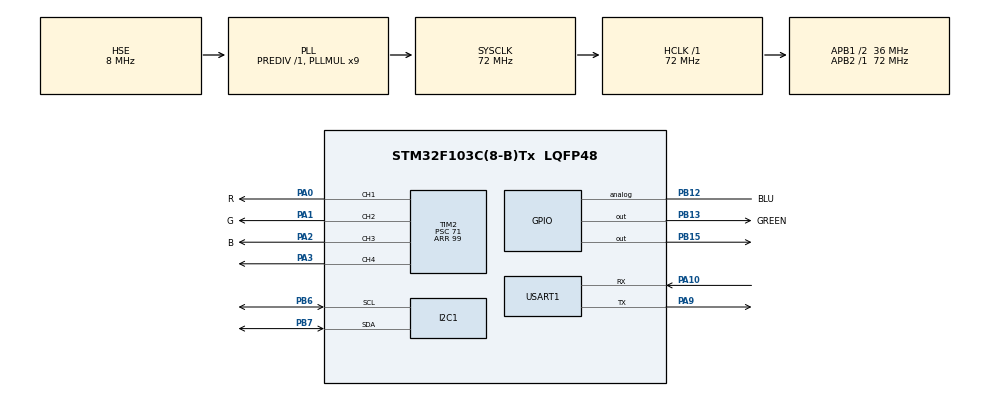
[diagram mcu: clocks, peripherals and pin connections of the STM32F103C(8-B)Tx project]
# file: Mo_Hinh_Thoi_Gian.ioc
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Mcu.Family=STM32F1
Mcu.Name=STM32F103C(8-B)Tx
Mcu.Package=LQFP48
NVIC.PriorityGroup=NVIC_PRIORITYGROUP_4
NVIC.USART1_IRQn=true\:0\:0\:false\:false\:true\:true\:true\:true
PA0-WKUP.GPIO_Label=R
PA0-WKUP.Signal=S_TIM2_CH1_ETR
PA1.GPIO_Label=G
PA1.Signal=S_TIM2_CH2
PA10.Mode=Asynchronous
PA10.Signal=USART1_RX
PA13.Mode=Serial_Wire
PA13.Signal=SYS_JTMS-SWDIO
PA14.Mode=Serial_Wire
PA14.Signal=SYS_JTCK-SWCLK
PA2.GPIO_Label=B
PA2.Signal=S_TIM2_CH3
PA3.Signal=S_TIM2_CH4
PA9.Mode=Asynchronous
PA9.Signal=USART1_TX
PB12.GPIO_Label=BLU
PB12.Signal=GPIO_Analog
PB13.GPIO_Label=GREEN
PB13.Signal=GPIO_Output
PB15.Signal=GPIO_Output
PB6.Mode=I2C
PB6.Signal=I2C1_SCL
PB7.Mode=I2C
PB7.Signal=I2C1_SDA
PD0-OSC_IN.Mode=HSE-External-Oscillator
PD0-OSC_IN.Signal=RCC_OSC_IN
PD1-OSC_OUT.Mode=HSE-External-Oscillator
PD1-OSC_OUT.Signal=RCC_OSC_OUT
ProjectManager.HeapSize=0x200
ProjectManager.StackSize=0x400
ProjectManager.TargetToolchain=MDK-ARM V5.32
RCC.AHBFreq_Value=72000000
RCC.APB1CLKDivider=RCC_HCLK_DIV2
RCC.APB1Freq_Value=36000000
RCC.APB1TimFreq_Value=72000000
RCC.APB2Freq_Value=72000000
RCC.APB2TimFreq_Value=72000000
RCC.HCLKFreq_Value=72000000
RCC.PLLMUL=RCC_PLL_MUL9
RCC.PLLSourceVirtual=RCC_PLLSOURCE_HSE
RCC.SYSCLKFreq_VALUE=72000000
RCC.SYSCLKSource=RCC_SYSCLKSOURCE_PLLCLK
RCC.USBFreq_Value=72000000
SH.S_TIM2_CH1_ETR.0=TIM2_CH1,PWM Generation1 CH1
SH.S_TIM2_CH2.0=TIM2_CH2,PWM Generation2 CH2
SH.S_TIM2_CH3.0=TIM2_CH3,PWM Generation3 CH3
SH.S_TIM2_CH4.0=TIM2_CH4,PWM Generation4 CH4
TIM2.Channel-PWM\ Generation1\ CH1=TIM_CHANNEL_1
TIM2.Channel-PWM\ Generation2\ CH2=TIM_CHANNEL_2
TIM2.Channel-PWM\ Generation3\ CH3=TIM_CHANNEL_3
TIM2.Channel-PWM\ Generation4\ CH4=TIM_CHANNEL_4
TIM2.Period=99
TIM2.Prescaler=71
USART1.VirtualMode=VM_ASYNC
board=custom

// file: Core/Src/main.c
/* USER CODE BEGIN Header */
/**
  ******************************************************************************
  * @file           : main.c
  * @brief          : Main program body
  ******************************************************************************
  * @attention
  *
  * Copyright (c) 2024 STMicroelectronics.
  * All rights reserved.
  *
  * This software is licensed under terms that can be found in the LICENSE file
  * in the root directory of this software component.
  * If no LICENSE file comes with this software, it is provided AS-IS.
  *
  ******************************************************************************
  */
/* USER CODE END Header */
#include "main.h"

/* USER CODE BEGIN Includes */
#include "sht2x.h"
#include <stdio.h>
#include <string.h>
#include "mpu6050.h"
#include "stdint.h"
#include "response_ci.h"
// Command hanlde
#include "uart.h"
#include "i2c-lcd.h"
#include "set_time.h"
#include "set_rgb.h"
/* USER CODE END Includes */

I2C_HandleTypeDef hi2c1;

TIM_HandleTypeDef htim2;

UART_HandleTypeDef huart1;

/* USER CODE BEGIN PV */
//
unsigned char buffer1[100] = { 0 };
unsigned char* buffer2[100] = { 0 };
float tem = 0;
float hum = 0;

uint32_t elapsed_time1;
uint32_t elapsed_time2;
uint32_t elapsed_time3;
uint32_t elapsed_time4;
uint32_t elapsed_time5 = 0;
uint8_t flag = 0;

MPU6050_t MPU6050;

uint32_t P = 6000;
int arr_w[12] ={0};
int arr_r[12] = {0};
uint32_t D1 = 1000;
uint32_t D2 = 1000;
uint32_t D3 = 1000;
uint32_t D4 = 1000;
uint32_t T1 = 500;
uint32_t T2 = 500;
uint32_t T3 = 500;
uint32_t T4 = 500;
uint32_t Phase_1 = 1;
uint32_t Phase_2 = 2;
uint32_t Phase_3 = 3;
uint32_t Phase_4 = 4;
uint8_t flag_update_time = 0;

int arr_w_rgb[3] = {0};
int arr_r_rgb[3] = {0};
uint8_t duty_R = 50;
uint8_t duty_G = 50;
uint8_t duty_B = 50;
uint8_t flag_update_rgb = 0;
static uint8_t dataRX;

/* USER CODE END PV */

void SystemClock_Config(void);
static void MX_GPIO_Init(void);
static void MX_I2C1_Init(void);
static void MX_USART1_UART_Init(void);
static void MX_TIM2_Init(void);

/* USER CODE BEGIN 0 */
// ham ngat uart
void HAL_UART_RxCpltCallback(UART_HandleTypeDef *huart)
{
	uint32_t start_time = HAL_GetTick();

	if (huart->Instance == huart1.Instance)
	{
		recv_data(dataRX);
		HAL_UART_Receive_IT(&huart1, &dataRX,1);
		uart_handle();
		uint32_t end_time = HAL_GetTick();
		elapsed_time5 = end_time - start_time;
	}
}

// Task1: doc nhiet do va do am tu cam bien SHT21
void Task1(){
		response_print("Task read temperature & relative humidity is running\n\n");
		uint32_t start_time = HAL_GetTick();

		/* Gets current temperature & relative humidity. */
		float cel = SHT2x_GetTemperature(1);
		tem = cel;
		float rh = SHT2x_GetRelativeHumidity(1);
		hum = rh;
		/* May show warning below. Ignore and proceed. */
		sprintf((char*)buffer1,
		"%d.%dºC, relative humidity = %d.%d%% RH\n",
		SHT2x_GetInteger(cel), SHT2x_GetDecimal(cel, 1),
		SHT2x_GetInteger(rh), SHT2x_GetDecimal(rh, 1));
		uint32_t end_time = HAL_GetTick();
		elapsed_time1 = end_time - start_time;
		HAL_Delay(T1);
}

// Task2: do gia toc tu cam bien MPU6050
void Task2(){
		response_print("Task read acceleration is running\n\n");
		uint32_t start_time = HAL_GetTick();
		MPU6050_Read_All(&hi2c1, &MPU6050);
		sprintf((char*)buffer2,"Acceleration = {Ax = %f, Ay = %f, Az = %f}\n\n", MPU6050.Ax,MPU6050.Ay,MPU6050.Az);
		uint32_t end_time = HAL_GetTick();
		elapsed_time2 = end_time - start_time;
		HAL_Delay(T2);
}

//Task3: Hien thi du lieu len LCD bang giao tiep I2C
void Task3(){
		uint32_t start_time = HAL_GetTick();
		unsigned char buffer3[100] = { 0 };
		unsigned char buffer5[100] = { 0 };
		unsigned char buffer4[100] = { 0 };
		sprintf((char*)buffer3, "Te=%.1f Hu=%.1f", tem, hum);
		sprintf((char*)buffer4, "%.2f %.2f %0.2f", MPU6050.Ax, MPU6050.Ay, MPU6050.Az);
		sprintf((char*)buffer5, "Z=%.1f",MPU6050.Az);
		lcd_goto_XY (1,0);
		lcd_send_string ((char*)buffer3);
		lcd_goto_XY (0,0);
		lcd_send_string ((char*)buffer4);
		uint32_t end_time = HAL_GetTick();
		elapsed_time3 = end_time - start_time;
		HAL_Delay(T3);
}

// Truyen du lieu len may tinh bang UART
void Task4(){
		uint32_t start_time = HAL_GetTick();
		response_print("Task Send UART is running\n");
		HAL_UART_Transmit(&huart1, buffer1, strlen((char*)buffer1), 1000);
		HAL_UART_Transmit(&huart1,(uint8_t*)buffer2, strlen((char*)buffer2), 1000);
		uint32_t end_time = HAL_GetTick();
		elapsed_time4 = end_time - start_time;
		HAL_Delay(T4);
}

void(*task_Point_Array[4])(void) = {Task1, Task2, Task3, Task4};

/* USER CODE END 0 */

int main(void)
{

  /* MCU Configuration--------------------------------------------------------*/

  /* Reset of all peripherals, Initializes the Flash interface and the Systick. */
  HAL_Init();

  /* Configure the system clock */
  SystemClock_Config();

  /* USER CODE BEGIN SysInit */
	SHT2x_Init(&hi2c1);
	SHT2x_SetResolution(RES_14_12);
  /* USER CODE END SysInit */

  /* Initialize all configured peripherals */
  MX_GPIO_Init();
  MX_I2C1_Init();
  MX_USART1_UART_Init();
  MX_TIM2_Init();
  /* USER CODE BEGIN 2 */
	MPU6050_Init(&hi2c1);
	HAL_UART_Receive_IT(&huart1, &dataRX,1);
	response_init(&huart1);
	// initialize the library by associating any needed LCD interface pin
	lcd_init ();
	response_init(&huart1);

	if (!MPU6050_Init(&hi2c1))
	{
		response_print("Successful connecting to MPU 6050 sensor\n");
	}
	else
	{
		response_print("Failed connecting to MPU 6050 sensor\n");
	}

	// doc du lieu thoi gian tu bo nho Flash
	for( uint16_t i = 0; i < 12; i++){
	 arr_r[i] = Flash_Read_Int(ADDRESS_DATA_STORAGE + 1024*i);
	}

 D1 = arr_r[0];
 D2 = arr_r[1];
 D3 = arr_r[2];
 D4 = arr_r[3];
 Phase_1 = arr_r[4];
 Phase_2 = arr_r[5];
 Phase_3 = arr_r[6];
 Phase_4 = arr_r[7];
 T1 = arr_r[8];
 T2 = arr_r[9];
 T3 = arr_r[10];
 T4 = arr_r[11];

	// tao xung pwm cho led RGB

	for( uint16_t i = 0; i < 3; i++){
	 arr_r_rgb[i] = Flash_Read_Int(ADDRESS_DATA_RGB_STORAGE + 1024*i);
	}
	HAL_TIM_PWM_Start(&htim2,TIM_CHANNEL_1);
  HAL_TIM_PWM_Start(&htim2,TIM_CHANNEL_2);
	HAL_TIM_PWM_Start(&htim2,TIM_CHANNEL_3);
	duty_R = arr_r_rgb[0];
  duty_G = arr_r_rgb[1];
  duty_B = arr_r_rgb[2];
	__HAL_TIM_SetCompare(&htim2,TIM_CHANNEL_1,duty_R);
  __HAL_TIM_SetCompare(&htim2,TIM_CHANNEL_2,duty_G);
	__HAL_TIM_SetCompare(&htim2,TIM_CHANNEL_3,duty_B);
  /* USER CODE END 2 */

  /* Infinite loop */
  /* USER CODE BEGIN WHILE */
	 uwTick = 0;

  while (1)
  {
    /* USER CODE END WHILE */

    /* USER CODE BEGIN 3 */
		if(uwTick%P == 100){
		for	(uint16_t i = 0; i < 4; i++)
			task_Point_Array[i]();
		}
  }

  /* USER CODE END 3 */
}

void SystemClock_Config(void)
{
  RCC_OscInitTypeDef RCC_OscInitStruct = {0};
  RCC_ClkInitTypeDef RCC_ClkInitStruct = {0};

  /** Initializes the RCC Oscillators according to the specified parameters
  * in the RCC_OscInitTypeDef structure.
  */
  RCC_OscInitStruct.OscillatorType = RCC_OSCILLATORTYPE_HSE;
  RCC_OscInitStruct.HSEState = RCC_HSE_ON;
  RCC_OscInitStruct.HSEPredivValue = RCC_HSE_PREDIV_DIV1;
  RCC_OscInitStruct.HSIState = RCC_HSI_ON;
  RCC_OscInitStruct.PLL.PLLState = RCC_PLL_ON;
  RCC_OscInitStruct.PLL.PLLSource = RCC_PLLSOURCE_HSE;
  RCC_OscInitStruct.PLL.PLLMUL = RCC_PLL_MUL9;
  if (HAL_RCC_OscConfig(&RCC_OscInitStruct) != HAL_OK)
  {
    Error_Handler();
  }

  /** Initializes the CPU, AHB and APB buses clocks
  */
  RCC_ClkInitStruct.ClockType = RCC_CLOCKTYPE_HCLK|RCC_CLOCKTYPE_SYSCLK
                              |RCC_CLOCKTYPE_PCLK1|RCC_CLOCKTYPE_PCLK2;
  RCC_ClkInitStruct.SYSCLKSource = RCC_SYSCLKSOURCE_PLLCLK;
  RCC_ClkInitStruct.AHBCLKDivider = RCC_SYSCLK_DIV1;
  RCC_ClkInitStruct.APB1CLKDivider = RCC_HCLK_DIV2;
  RCC_ClkInitStruct.APB2CLKDivider = RCC_HCLK_DIV1;

  if (HAL_RCC_ClockConfig(&RCC_ClkInitStruct, FLASH_LATENCY_2) != HAL_OK)
  {
    Error_Handler();
  }
}

static void MX_I2C1_Init(void)
{

  hi2c1.Instance = I2C1;
  hi2c1.Init.ClockSpeed = 100000;
  hi2c1.Init.DutyCycle = I2C_DUTYCYCLE_2;
  hi2c1.Init.OwnAddress1 = 0;
  hi2c1.Init.AddressingMode = I2C_ADDRESSINGMODE_7BIT;
  hi2c1.Init.DualAddressMode = I2C_DUALADDRESS_DISABLE;
  hi2c1.Init.OwnAddress2 = 0;
  hi2c1.Init.GeneralCallMode = I2C_GENERALCALL_DISABLE;
  hi2c1.Init.NoStretchMode = I2C_NOSTRETCH_DISABLE;
  if (HAL_I2C_Init(&hi2c1) != HAL_OK)
  {
    Error_Handler();
  }

}

static void MX_TIM2_Init(void)
{

  TIM_MasterConfigTypeDef sMasterConfig = {0};
  TIM_OC_InitTypeDef sConfigOC = {0};

  htim2.Instance = TIM2;
  htim2.Init.Prescaler = 71;
  htim2.Init.CounterMode = TIM_COUNTERMODE_UP;
  htim2.Init.Period = 99;
  htim2.Init.ClockDivision = TIM_CLOCKDIVISION_DIV1;
  htim2.Init.AutoReloadPreload = TIM_AUTORELOAD_PRELOAD_DISABLE;
  if (HAL_TIM_PWM_Init(&htim2) != HAL_OK)
  {
    Error_Handler();
  }
  sMasterConfig.MasterOutputTrigger = TIM_TRGO_RESET;
  sMasterConfig.MasterSlaveMode = TIM_MASTERSLAVEMODE_DISABLE;
  if (HAL_TIMEx_MasterConfigSynchronization(&htim2, &sMasterConfig) != HAL_OK)
  {
    Error_Handler();
  }
  sConfigOC.OCMode = TIM_OCMODE_PWM1;
  sConfigOC.Pulse = 0;
  sConfigOC.OCPolarity = TIM_OCPOLARITY_HIGH;
  sConfigOC.OCFastMode = TIM_OCFAST_DISABLE;
  if (HAL_TIM_PWM_ConfigChannel(&htim2, &sConfigOC, TIM_CHANNEL_1) != HAL_OK)
  {
    Error_Handler();
  }
  if (HAL_TIM_PWM_ConfigChannel(&htim2, &sConfigOC, TIM_CHANNEL_2) != HAL_OK)
  {
    Error_Handler();
  }
  if (HAL_TIM_PWM_ConfigChannel(&htim2, &sConfigOC, TIM_CHANNEL_3) != HAL_OK)
  {
    Error_Handler();
  }
  if (HAL_TIM_PWM_ConfigChannel(&htim2, &sConfigOC, TIM_CHANNEL_4) != HAL_OK)
  {
    Error_Handler();
  }
  HAL_TIM_MspPostInit(&htim2);

}

static void MX_USART1_UART_Init(void)
{

  huart1.Instance = USART1;
  huart1.Init.BaudRate = 115200;
  huart1.Init.WordLength = UART_WORDLENGTH_8B;
  huart1.Init.StopBits = UART_STOPBITS_1;
  huart1.Init.Parity = UART_PARITY_NONE;
  huart1.Init.Mode = UART_MODE_TX_RX;
  huart1.Init.HwFlowCtl = UART_HWCONTROL_NONE;
  huart1.Init.OverSampling = UART_OVERSAMPLING_16;
  if (HAL_UART_Init(&huart1) != HAL_OK)
  {
    Error_Handler();
  }

}

static void MX_GPIO_Init(void)
{
  GPIO_InitTypeDef GPIO_InitStruct = {0};

  /* GPIO Ports Clock Enable */
  __HAL_RCC_GPIOD_CLK_ENABLE();
  __HAL_RCC_GPIOA_CLK_ENABLE();
  __HAL_RCC_GPIOB_CLK_ENABLE();

  /*Configure GPIO pin Output Level */
  HAL_GPIO_WritePin(GPIOB, GREEN_Pin|GPIO_PIN_15, GPIO_PIN_RESET);

  /*Configure GPIO pin : BLU_Pin */
  GPIO_InitStruct.Pin = BLU_Pin;
  GPIO_InitStruct.Mode = GPIO_MODE_ANALOG;
  HAL_GPIO_Init(BLU_GPIO_Port, &GPIO_InitStruct);

  /*Configure GPIO pins : GREEN_Pin PB15 */
  GPIO_InitStruct.Pin = GREEN_Pin|GPIO_PIN_15;
  GPIO_InitStruct.Mode = GPIO_MODE_OUTPUT_PP;
  GPIO_InitStruct.Pull = GPIO_NOPULL;
  GPIO_InitStruct.Speed = GPIO_SPEED_FREQ_LOW;
  HAL_GPIO_Init(GPIOB, &GPIO_InitStruct);

}

void Error_Handler(void)
{
  __disable_irq();
  while (1)
  {
  }
}
